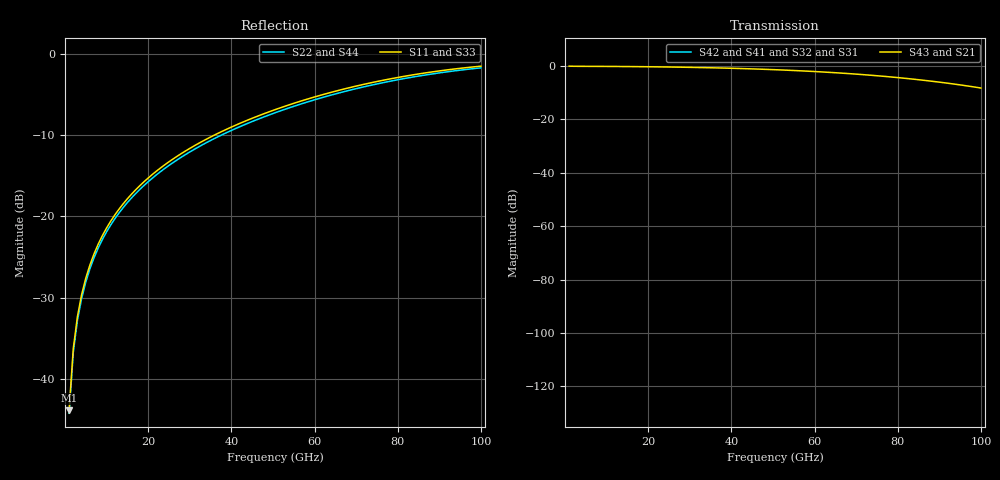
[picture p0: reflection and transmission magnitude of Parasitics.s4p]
! File created by SignalIntegrity v1.1.17: Signal and Power Integrity Tools
! https://github.com/TeledyneLeCroy/SignalIntegrity
# MHz S MA R 50.0
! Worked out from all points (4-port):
!   100 points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, 1 GHz to 100 GHz, reference 50 ohm
!   strongest paths, dB at 1 GHz, 26 GHz, 51 GHz, 76 GHz, 100 GHz:
!     S43: -0.1, -0.4, -1.4, -3.8, -8.2
!     S21: -0.1, -0.4, -1.4, -3.8, -8.2
!     S42: -, -, -, -, -
!     S41: -, -, -, -, -
!     S32: -, -, -, -, -
!     S31: -, -, -, -, -
!   lowest |S11| = -43.8 dB at 1 GHz (marker M1), VSWR 1.01, Z = 49.4 + j0.188 ohm
!   |S11| at or under -10 dB: start of sweep to 35.87 GHz
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1000  0.006436 162.8  0.9939 -1.1  0 0.0  0 0.0
      0.9939 -1.1  0.006157 163.7  0 0.0  0 0.0
      0 0.0  0 0.0  0.006436 162.8  0.9939 -1.1
      0 0.0  0 0.0  0.9939 -1.1  0.006157 163.7
2000  0.01537 131.0  0.9898 -1.8  0 0.0  0 0.0
      0.9898 -1.8  0.01459 130.9  0 0.0  0 0.0
      0 0.0  0 0.0  0.01537 131.0  0.9898 -1.8
      0 0.0  0 0.0  0.9898 -1.8  0.01459 130.9
3000  0.02426 117.4  0.9881 -2.5  0 0.0  0 0.0
      0.9881 -2.5  0.02298 116.7  0 0.0  0 0.0
      0 0.0  0 0.0  0.02426 117.4  0.9881 -2.5
      0 0.0  0 0.0  0.9881 -2.5  0.02298 116.7
6000  0.05034 101.5  0.986 -4.6  0 0.0  0 0.0
      0.986 -4.6  0.04766 99.2  0 0.0  0 0.0
      0 0.0  0 0.0  0.05034 101.5  0.986 -4.6
      0 0.0  0 0.0  0.986 -4.6  0.04766 99.2
21000  0.1813 81.8  0.9674 -15.8  0 0.0  0 0.0
       0.9674 -15.8  0.172 72.8  0 0.0  0 0.0
       0 0.0  0 0.0  0.1813 81.8  0.9674 -15.8
       0 0.0  0 0.0  0.9674 -15.8  0.172 72.8
60000  0.5435 51.1  0.789 -48.1  0 0.0  0 0.0
       0.789 -48.1  0.5219 26.8  0 0.0  0 0.0
       0 0.0  0 0.0  0.5435 51.1  0.789 -48.1
       0 0.0  0 0.0  0.789 -48.1  0.5219 26.8
100000  0.8408 16.7  0.3873 -81.3  0 0.0  0 0.0
        0.3873 -81.3  0.8208 -19.4  0 0.0  0 0.0
        0 0.0  0 0.0  0.8408 16.7  0.3873 -81.3
        0 0.0  0 0.0  0.3873 -81.3  0.8208 -19.4
